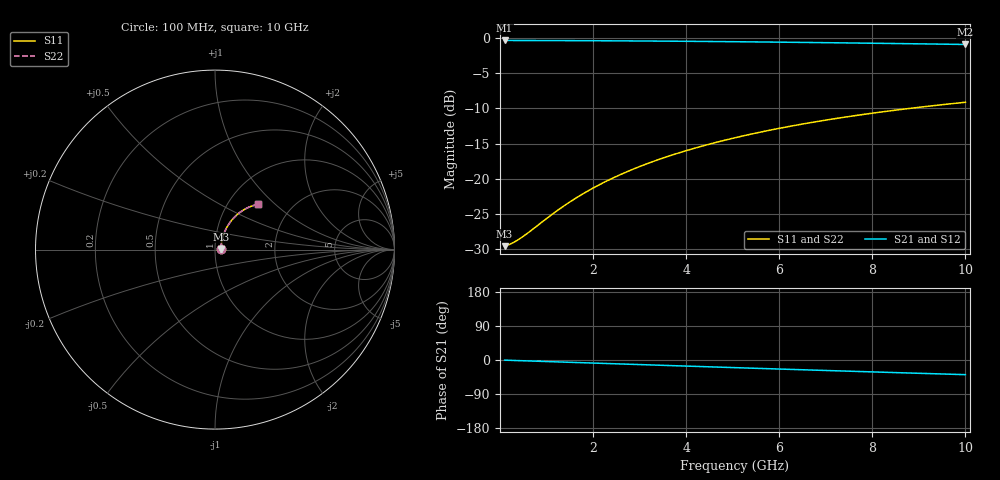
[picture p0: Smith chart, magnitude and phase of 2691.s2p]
# Hz S RI R 50.00
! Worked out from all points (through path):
!   100 points, 100 MHz to 10 GHz, reference 50 ohm
!   highest |S21| = -0.29 dB at 100 MHz (marker M1); lowest = -0.9 dB at 10 GHz (marker M2)
!   group delay of S21, straight-line fit = 10.8 ps
!   lowest |S11| = -29.7 dB at 100 MHz (marker M3), VSWR 1.07, Z = 53.4 + j0.397 ohm
!   |S11| at or under -10 dB: start of sweep to 8.791 GHz
!   |S22| runs from -29.7 to -9.1 dB; largest |S21 - S12| = 0
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1e8  0.0327 0.00372  0.9673 -0.00683  0.9673 -0.00683  0.0327 0.00372
2e8  0.033 0.00743  0.967 -0.0137  0.967 -0.0137  0.033 0.00743
4e8  0.0336 0.0148  0.9663 -0.0273  0.9663 -0.0273  0.0336 0.0148
6e8  0.0343 0.0222  0.9655 -0.0409  0.9655 -0.0409  0.0343 0.0222
1e9  0.0363 0.0369  0.9632 -0.0681  0.9632 -0.0681  0.0363 0.0369
1.3e9  0.0382 0.0479  0.9609 -0.0883  0.9609 -0.0883  0.0382 0.0479
1.5e9  0.0398 0.0551  0.9591 -0.1018  0.9591 -0.1018  0.0398 0.0551
1.8e9  0.0425 0.0658  0.9559 -0.1219  0.9559 -0.1219  0.0425 0.0658
2.1e9  0.0456 0.0764  0.9521 -0.1418  0.9521 -0.1418  0.0456 0.0764
2.5e9  0.0505 0.0903  0.9464 -0.1681  0.9464 -0.1681  0.0505 0.0903
2.9e9  0.0561 0.1039  0.9397 -0.1941  0.9397 -0.1941  0.0561 0.1039
3.4e9  0.0641 0.1203  0.9301 -0.2261  0.9301 -0.2261  0.0641 0.1203
3.8e9  0.0713 0.1329  0.9215 -0.2512  0.9215 -0.2512  0.0713 0.1329
4.2e9  0.0791 0.1451  0.9121 -0.2759  0.9121 -0.2759  0.0791 0.1451
4.6e9  0.0876 0.1567  0.9018 -0.3  0.9018 -0.3  0.0876 0.1567
5.1e9  0.099 0.1705  0.888 -0.3295  0.888 -0.3295  0.099 0.1705
5.9e9  0.1189 0.1907  0.8637 -0.3747  0.8637 -0.3747  0.1189 0.1907
6.7e9  0.1406 0.2084  0.8368 -0.4174  0.8368 -0.4174  0.1406 0.2084
7.5e9  0.1638 0.2235  0.8079 -0.4576  0.8079 -0.4576  0.1638 0.2235
8.4e9  0.1911 0.2373  0.7731 -0.4997  0.7731 -0.4997  0.1911 0.2373
9.2e9  0.2163 0.2466  0.7406 -0.5342  0.7406 -0.5342  0.2163 0.2466
1e10  0.2418 0.2532  0.707 -0.566  0.707 -0.566  0.2418 0.2532
